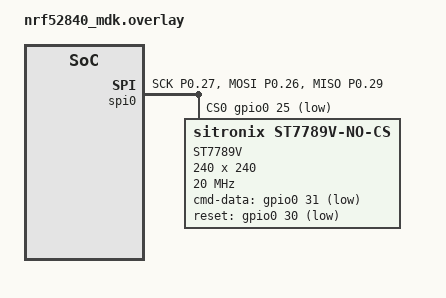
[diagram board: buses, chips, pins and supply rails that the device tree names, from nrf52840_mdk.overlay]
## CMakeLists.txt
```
list(APPEND ZEPHYR_EXTRA_MODULES
${CMAKE_CURRENT_SOURCE_DIR}/drivers
)

cmake_minimum_required(VERSION 3.20.0)

set(BOARD nrf52840_mdk)

find_package(Zephyr REQUIRED HINTS $ENV{ZEPHYR_BASE})
project(lvgl_nrf52840_mdk_sample)

FILE(GLOB app_sources 
    src/*.c
    )

target_sources(app PRIVATE ${app_sources})
```

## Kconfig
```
# SPDX-License-Identifier: Apache-2.0

mainmenu "Zephyr out-of-tree driver ST7789v-no-cs"

# Your application configuration options go here

# Sources Kconfig.zephyr in the Zephyr root directlyory.
#
# Note: All 'source' statements work relative to the Zephyr root directlyory (due
# to the $srctree environment variable being set to $ZEPHYR_BASE). If you want
# to 'source' relative to the current Kconfig file instead, use 'rsource' (or a
# path relative to the Zephyr root).
source "Kconfig.zephyr"
```

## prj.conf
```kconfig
# Hardware config
CONFIG_GPIO=y
CONFIG_SPI=y
CONFIG_SPI_NRFX=y
CONFIG_SPI_NRFX_RAM_BUFFER_SIZE=32

# Display config
CONFIG_ST7789V_NO_CS=y
CONFIG_ST7789V_NO_CS_RGB565=y
CONFIG_DISPLAY=y
CONFIG_DISPLAY_LOG_LEVEL_ERR=y

# System config
CONFIG_MAIN_STACK_SIZE=2048
CONFIG_LOG=y

# LVGL config
CONFIG_LVGL=y
CONFIG_LV_MEM_CUSTOM=y
CONFIG_LV_USE_LOG=y
CONFIG_LV_COLOR_DEPTH_16=y
CONFIG_LV_COLOR_16_SWAP=y
CONFIG_LV_Z_BITS_PER_PIXEL=16
CONFIG_LV_USE_THEME_DEFAULT=y
CONFIG_LV_THEME_DEFAULT_DARK=n
CONFIG_LV_USE_METER=y
CONFIG_LV_Z_MEM_POOL_NUMBER_BLOCKS=8
```

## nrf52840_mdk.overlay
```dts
/ {
   chosen {
	   zephyr,display = &st7789v;
   };
};

&pinctrl {
	spi0_default: spi0_default {
		group1 {
			psels = <NRF_PSEL(SPIM_SCK, 0, 27)>,
				<NRF_PSEL(SPIM_MOSI, 0, 26)>,
				<NRF_PSEL(SPIM_MISO, 0, 29)>;
		};
	};

	spi0_sleep: spi0_sleep {
		group1 {
			psels = <NRF_PSEL(SPIM_SCK, 0, 27)>,
				<NRF_PSEL(SPIM_MOSI, 0, 26)>,
				<NRF_PSEL(SPIM_MISO, 0, 29)>;
			low-power-enable;
		};
	};
};

&spi0 {
	compatible = "nordic,nrf-spim";
	status = "okay";
	pinctrl-0 = <&spi0_default>;
	pinctrl-1 = <&spi0_sleep>;
	cs-gpios = <&gpio0 25 GPIO_ACTIVE_LOW>;
	pinctrl-names = "default", "sleep";
	
	st7789v: st7789v@0 {
		compatible = "sitronix,st7789v-no-cs";
		label = "ST7789V";
		spi-max-frequency = <20000000>;
		reg = <0>;
		cmd-data-gpios = <&gpio0 31 GPIO_ACTIVE_LOW>;
		reset-gpios = <&gpio0 30 GPIO_ACTIVE_LOW>;
		width = <240>;
		height = <240>;
		x-offset = <0>;
		y-offset = <0>;
		vcom = <0x19>;
		gctrl = <0x35>;
		vrhs = <0x12>;
		vdvs = <0x20>;
		mdac = <0x00>;
		lcm = <0x2c>;
		colmod = <0x05>;
		gamma = <0x01>;
		porch-param = [0c 0c 00 33 33];
		cmd2en-param = [5a 69 02 01];
		pwctrl1-param = [a4 a1];
		pvgam-param = [D0 04 0D 11 13 2B 3F 54 4C 18 0D 0B 1F 23];
		nvgam-param = [D0 04 0C 11 13 2C 3F 44 51 2F 1F 1F 20 23];
		ram-param = [00 F0];
		rgb-param = [CD 08 14];
		inverted-sck;
	};
};
```

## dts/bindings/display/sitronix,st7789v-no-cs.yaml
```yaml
description: ST7789V_NO_CS 320x240 display controller

compatible: "sitronix,st7789v-no-cs"

include: [spi-device.yaml, display-controller.yaml]

properties:
    reset-gpios:
      type: phandle-array
      required: false
      description: |
        RESET pin.

        The RESET pin of ST7789V is active low.
        If connected directly the MCU pin should be configured
        as active low.

    cmd-data-gpios:
      type: phandle-array
      required: true
      description: |
        D/CX pin.

        The D/CX pin of ST7789V is active low (transmission command byte).
        If connected directly the MCU pin should be configured
        as active low.

    x-offset:
      type: int
      required: true
      description: The column offset in pixels of the LCD to the controller memory

    y-offset:
      type: int
      required: true
      description: The row offset in pixels of the LCD to the controller memory

    vcom:
      type: int
      required: true
      description: VCOM Setting

    gctrl:
      type: int
      required: true
      description: Gate Control

    vrhs:
      type: int
      required: false
      description: VRH Setting

    vdvs:
      type: int
      required: false
      description: VDV Setting

    mdac:
      type: int
      required: true
      description: Memory Data Access Control

    lcm:
      type: int
      required: true
      description: LCM Setting

    colmod:
      type: int
      required: true
      description: Interface Pixel Format

    gamma:
      type: int
      required: true
      description: Gamma Setting

    porch-param:
      type: uint8-array
      required: true
      description: Porch Setting

    cmd2en-param:
      type: uint8-array
      required: true
      description: Command 2 Enable Parameter

    pwctrl1-param:
      type: uint8-array
      required: true
      description: Power Control 1 Parameter

    pvgam-param:
      type: uint8-array
      required: true
      description: Positive Voltage Gamma Control Parameter

    nvgam-param:
      type: uint8-array
      required: true
      description: Negative Voltage Gamma Control Parameter

    ram-param:
      type: uint8-array
      required: true
      description: RAM Control Parameter

    rgb-param:
      type: uint8-array
      required: true
      description: RGB Interface Control Parameter

    inverted-sck:
      type: boolean
      required: false
      description: Only necessary if the display don't have a CS pin
```

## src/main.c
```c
#include <device.h>
#include <drivers/display.h>
#include <lvgl.h>
#include <stdio.h>
#include <string.h>
#include <zephyr.h>
#include "lvgl_sample.h"

#define LOG_LEVEL CONFIG_LOG_DEFAULT_LEVEL
#include <logging/log.h>
LOG_MODULE_REGISTER(app);

void main(void)
{
	const struct device *display_dev;

	display_dev = DEVICE_DT_GET(DT_CHOSEN(zephyr_display));
	if (!device_is_ready(display_dev)) {
		LOG_ERR("Device not ready, aborting test");
		return;
	}

	lv_sample();
	lv_task_handler();
	display_blanking_off(display_dev);

	while (1) {
		k_sleep(K_MSEC(1));
		lv_task_handler();
	}
}
```
